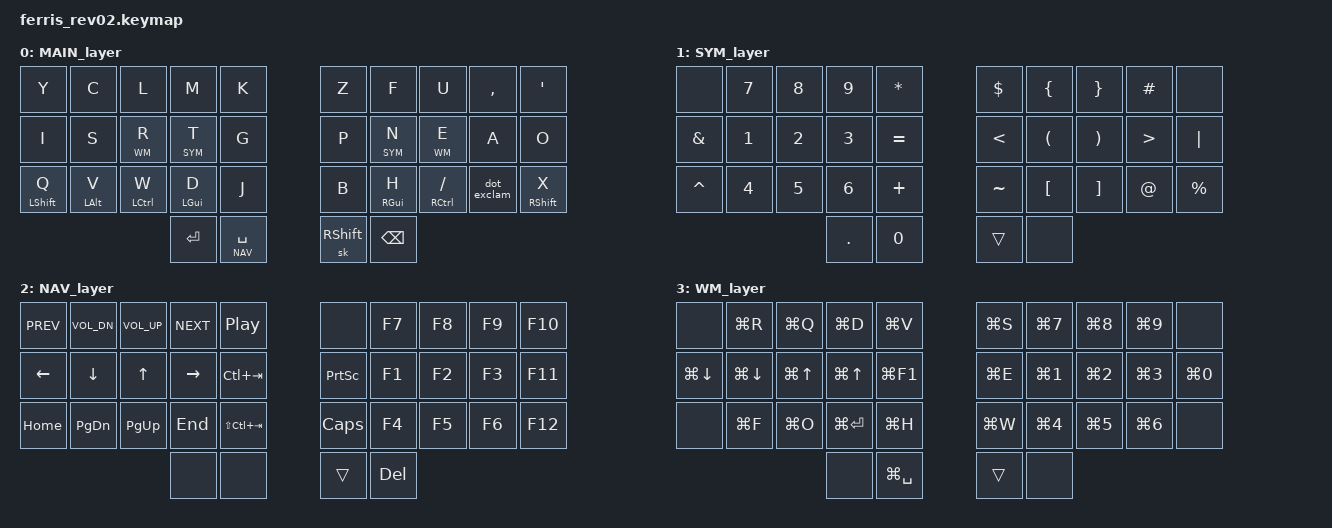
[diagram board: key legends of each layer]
/*
* Copyright (c) 2020 The ZMK Contributors
*
* SPDX-License-Identifier: MIT
*/

#include <behaviors.dtsi>
#include <dt-bindings/zmk/keys.h>
#include <dt-bindings/zmk/bt.h>

#define MAIN 0
#define SYM 1
#define NAV 2
#define WM 3

&mt {
    flavor = "tap-preferred";
    tapping_term_ms = <140>;
};

/ {
    behaviors {
        dot_exclam: dot_exclam {
            compatible = "zmk,behavior-mod-morph";            
            label = "DOT_EXCLAM";            
            #binding-cells = <0>;            
            bindings = <&mt RALT DOT>, <&kp EXCL>;            
            mods = <(MOD_LSFT|MOD_RSFT)>;
        };
    };

    combos {
        compatible = "zmk,combos";

        combo_esc {
            timeout-ms = <100>;
            key-positions = <21 22>;
            bindings = <&kp ESC>;
        };

        combo_tab {
            timeout-ms = <100>;
            key-positions = <22 23>;
            bindings = <&kp TAB>;
        };

        combo_minus {
            timeout-ms = <100>;
            key-positions = <26 27>;
            bindings = <&kp MINUS>;
        };

        combo_underscore {
            timeout-ms = <100>;
            key-positions = <26 28>;
            bindings = <&kp UNDERSCORE>;
        };

        combo_colon {
            timeout-ms = <100>;
            key-positions = <7 8>;
            bindings = <&kp COLON>;
        };

        combo_semicolon {
            timeout-ms = <100>;
            key-positions = <6 8>;
            bindings = <&kp SEMICOLON>;
        };

        combo_backslash {
            timeout-ms = <100>;
            key-positions = <27 28>;
            bindings = <&kp BSLH>;
        };

        combo_grave {
            timeout-ms = <100>;
            key-positions = <8 9>;
            bindings = <&kp GRAVE>;
        };
    };

    keymap {
        compatible = "zmk,keymap";

        MAIN_layer {
            bindings = <
                &kp Y       &kp C      &kp L       &kp M      &kp K          &kp Z     &kp F      &kp U          &kp COMMA   &kp APOS
                &kp I       &kp S      &lt WM R    &lt SYM T  &kp G          &kp P     &lt SYM N  &lt WM E       &kp A       &kp O
                &mt LSHFT Q &mt LALT V &mt LCTRL W &mt LGUI D &kp J          &kp B     &mt RGUI H &mt RCTRL FSLH &dot_exclam &mt RSHFT X
                                                   &kp ENTER  &lt NAV SPC    &sk RSHFT &kp BKSP 
            >;
        };

        SYM_layer {
            bindings = <
                &none     &kp N7 &kp N8 &kp N9  &kp STAR     &kp DLLR  &kp LBRC &kp RBRC &kp HASH  &none
                &kp AMPS  &kp N1 &kp N2 &kp N3  &kp EQUAL    &kp LT    &kp LPAR &kp RPAR &kp GT    &kp PIPE
                &kp CARET &kp N4 &kp N5 &kp N6  &kp PLUS     &kp TILDE &kp LBKT &kp RBKT &kp AT    &kp PRCNT
                                        &kp DOT &kp N0       &trans    &none 
            >;
        };

        NAV_layer {
            bindings = <
                &kp C_PREV &kp C_VOL_DN &kp C_VOL_UP &kp C_NEXT &kp C_PP           &none     &kp F7  &kp F8 &kp F9 &kp F10
                &kp LEFT   &kp DOWN     &kp UP       &kp RIGHT  &kp LC(TAB)        &kp PSCRN &kp F1  &kp F2 &kp F3 &kp F11
                &kp HOME   &kp PG_DN    &kp PG_UP    &kp END    &kp LS(LC(TAB))    &kp CAPS  &kp F4  &kp F5 &kp F6 &kp F12
                                                     &none      &none              &trans    &kp DEL
            >;
        };	

        WM_layer {
            bindings = <
                &none        &kp LG(R)    &kp LG(Q)  &kp LG(D)     &kp LG(V)      &kp LG(S) &kp LG(7) &kp LG(8) &kp LG(9) &none
                &kp LG(DOWN) &kp LG(DOWN) &kp LG(UP) &kp LG(UP)    &kp LG(F1)     &kp LG(E) &kp LG(1) &kp LG(2) &kp LG(3) &kp LG(0)
                &none        &kp LG(F)    &kp LG(O)  &kp LG(ENTER) &kp LG(H)      &kp LG(W) &kp LG(4) &kp LG(5) &kp LG(6) &none
                                                     &none         &kp LG(SPC)    &trans       &none
            >;
        };	
    };
};
